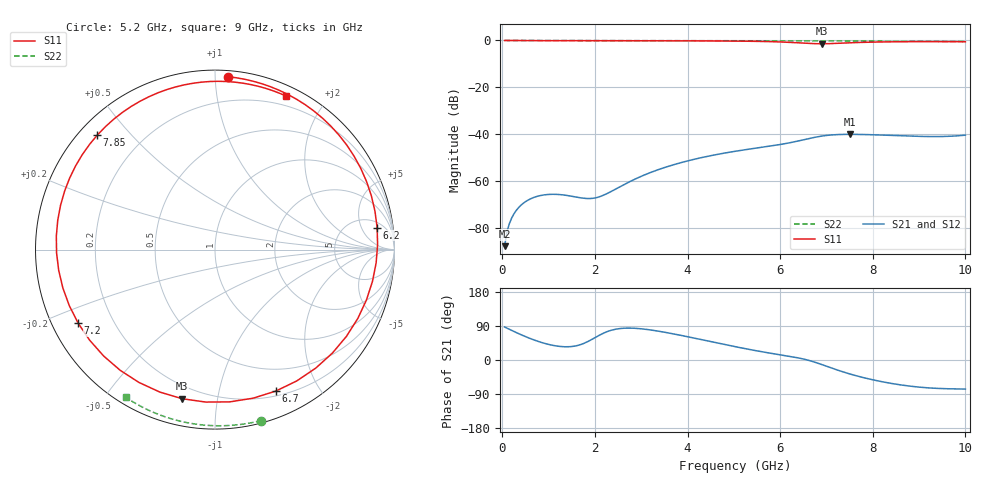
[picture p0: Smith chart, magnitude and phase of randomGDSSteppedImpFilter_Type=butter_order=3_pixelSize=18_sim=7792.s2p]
! freq	dB(S11)	phase(S11)	dB(S12)	phase(S12)
!  dB(S21)	phase(S21)	dB(S22)	phase(S22)
!S-par simulation data
#  GHz  S  DB  R 50
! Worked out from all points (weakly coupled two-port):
!   200 points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, 50 MHz to 10 GHz, reference 50 ohm
!   highest |S21| = -39.99 dB at 7.5 GHz (marker M1); lowest = -87.6 dB at 50 MHz (marker M2)
!   lowest |S11| = -1.4 dB at 6.9 GHz (marker M3), VSWR 12.39, Z = 6.62 - j39.8 ohm
!   |S11| at or under -10 dB: nowhere
!   |S22| runs from -0.4 to 0.0 dB; largest |S21 - S12| = 0
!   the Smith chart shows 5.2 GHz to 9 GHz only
!   S11 on the Smith chart (normalised r, x): 5.2 GHz: 0.04, +1.08; 6.2 GHz: 7, +10; 6.7 GHz: 0.25, -1.49; 7.2 GHz: 0.08, -0.25; 7.85 GHz: 0.05, +0.40; 9 GHz: 0.10, +1.56
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0.05  -0.00 -5.3  -87.61 87.0  -87.61 87.0  -0.00 -0.8
0.4  -0.06 -40.6  -70.24 67.0  -70.24 67.0  -0.01 -6.1
0.8  -0.09 -76.2  -66.15 48.1  -66.15 48.1  -0.02 -12.2
1.2  -0.10 -105.3  -65.58 36.4  -65.58 36.4  -0.02 -18.2
1.75  -0.11 -136.5  -67.18 43.3  -67.18 43.3  -0.03 -26.4
2.05  -0.11 -150.6  -66.86 62.3  -66.86 62.3  -0.04 -30.9
2.5  -0.12 -169.3  -62.73 82.4  -62.73 82.4  -0.05 -37.4
3.4  -0.14 157.8  -54.81 75.5  -54.81 75.5  -0.07 -50.3
4.25  -0.18 127.2  -50.13 55.1  -50.13 55.1  -0.09 -62.1
5.05  -0.27 93.2  -47.13 34.7  -47.13 34.7  -0.11 -72.8
5.2  -0.30 85.5  -46.67 31.0  -46.67 31.0  -0.12 -74.8
5.75  -0.48 50.7  -45.09 18.7  -45.09 18.7  -0.14 -81.9
6.2  -0.80 7.7  -43.60 9.9  -43.60 9.9  -0.16 -87.6
6.45  -1.08 -25.8  -42.55 4.1  -42.55 4.1  -0.17 -90.8
6.7  -1.33 -66.8  -41.44 -3.9  -41.44 -3.9  -0.18 -93.9
6.9  -1.40 -102.4  -40.72 -12.0  -40.72 -12.0  -0.19 -96.3
7.2  -1.25 -151.7  -40.13 -25.0  -40.13 -25.0  -0.21 -100.0
7.5  -1.00 169.5  -39.99 -36.7  -39.99 -36.7  -0.23 -103.6
7.85  -0.77 135.8  -40.08 -48.0  -40.08 -48.0  -0.25 -107.8
8.35  -0.60 100.5  -40.40 -60.7  -40.40 -60.7  -0.29 -113.6
9  -0.51 65.2  -40.84 -71.6  -40.84 -71.6  -0.35 -121.2
10  -0.56 19.9  -40.33 -76.7  -40.33 -76.7  -0.45 -132.6
